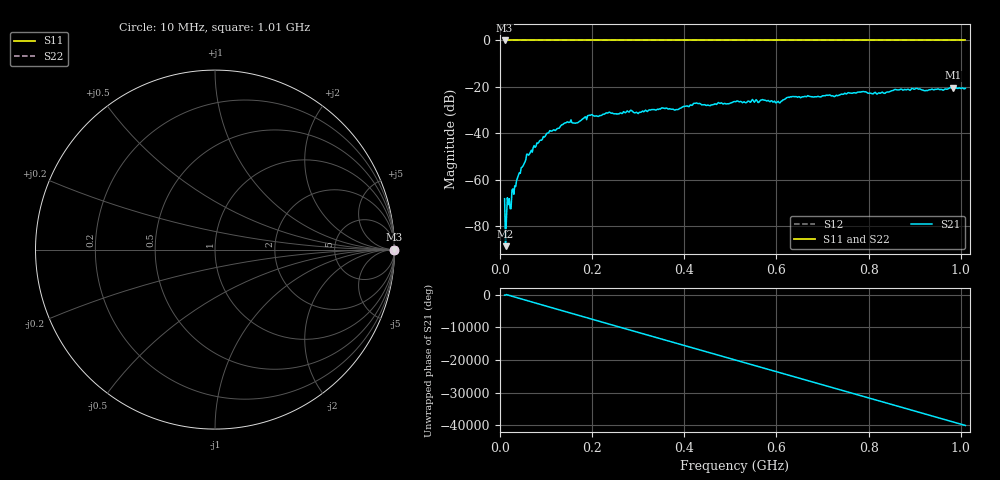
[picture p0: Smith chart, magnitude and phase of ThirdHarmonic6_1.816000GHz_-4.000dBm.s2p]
! 8/16/2025 10:00:05 PM
! C:\ANRITSUVNA\TEMP\TEMP.S2P
! CHANNEL.1
! TR.MEASUREMENT
! RAW.DATA
! RF.CORRECTION.OFF
! AVERAGING.OFF
! IF.BANDWIDTH: 5KHZ
! SWEEPTYPE:  FREQ.SWEEP(Linear)
! Reference Plane Port Info
! PORT:  PORT1  PORT2
! DISTANCE:  0  m  0  m
! TIME:  0  s  0  s
! PHASE.OFFSET:  0  deg.  0  deg.
! LOSS:  0  dB  0  dB
! REF.LOSS:  0  dB  0  dB
! REF.FREQ:  0  Hz  0  Hz
! Power Info
! POWER:  -20  dBm  -20  dBm
! EFF.POWER:  -20  dBm  -20  dBm
! SOURCE.ATTEN:  0  dB  0  dB
! TEST.ATTEN:  0  dB  0  dB
# GHZ S RI R 50.0
! FREQ.GHZ  S11RE  S11IM  S21RE  S21IM  S12RE  S12IM  S22RE  S22IM
!; PortSelection: Port_12
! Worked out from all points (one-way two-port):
!   501 points, 10 MHz to 1.01 GHz, reference 50 ohm
!   highest |S21| = -20.33 dB at 984 MHz (marker M1); lowest = -88.5 dB at 12 MHz (marker M2)
!   lowest |S11| = 0.0 dB at 10 MHz (marker M3)
!   |S11| at or under -10 dB: nowhere
!   |S22| runs from 0.0 to 0.0 dB; largest |S21 - S12| = 1.1
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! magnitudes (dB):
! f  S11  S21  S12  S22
! 10 MHz  0.0  -68.1  0.0  0.0
! 12 MHz  0.0  -88.5  0.0  0.0
! 16 MHz  0.0  -67.7  0.0  0.0
! 26 MHz  0.0  -64.3  0.0  0.0
! 30 MHz  0.0  -66.2  0.0  0.0
! 40 MHz  0.0  -58.0  0.0  0.0
! 56 MHz  0.0  -51.3  0.0  0.0
! 76 MHz  0.0  -46.0  0.0  0.0
! 106 MHz  0.0  -39.6  0.0  0.0
! 142 MHz  0.0  -35.5  0.0  0.0
! 178 MHz  0.0  -34.0  0.0  0.0
! 234 MHz  0.0  -31.2  0.0  0.0
! 344 MHz  0.0  -29.7  0.0  0.0
! 384 MHz  0.0  -29.8  0.0  0.0
! 424 MHz  0.0  -27.1  0.0  0.0
! 510 MHz  0.0  -26.3  0.0  0.0
! 604 MHz  0.0  -26.2  0.0  0.0
! 634 MHz  0.0  -24.1  0.0  0.0
! 678 MHz  0.0  -24.3  0.0  0.0
! 844 MHz  0.0  -22.2  0.0  0.0
! 984 MHz  0.0  -20.3  0.0  0.0
! 1.01 GHz  0.0  -20.6  0.0  0.0
